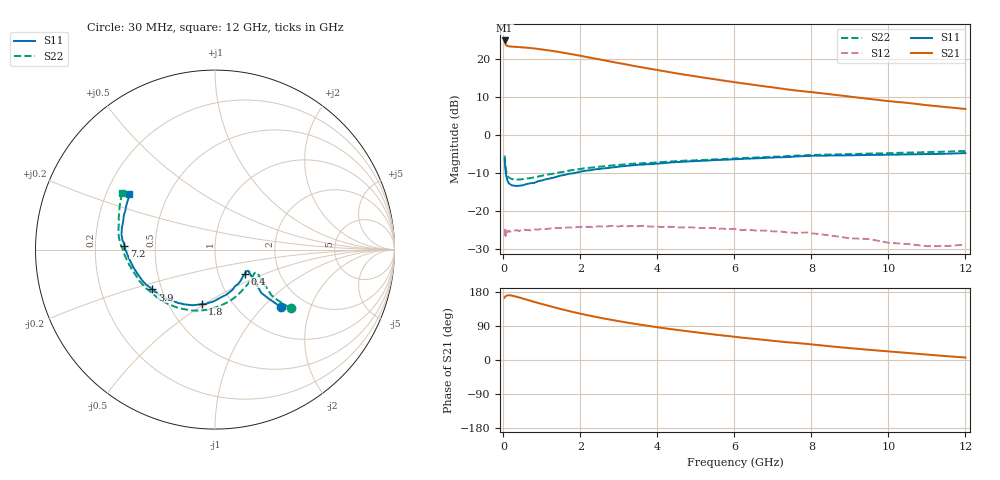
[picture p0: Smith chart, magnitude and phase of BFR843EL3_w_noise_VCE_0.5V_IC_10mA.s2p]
! Infineon Technologies  Discrete & RF Semiconductors
! BFR843EL3
! VCE =  0.5 V,  IC =  10 mA
! Common Emitter S-Parameters:  Aug 2013
# GHz  S  MA  R  50
!  f  S11  S21  S12  S22
! GHz  MAG  ANG  MAG  ANG  MAG  ANG  MAG  ANG
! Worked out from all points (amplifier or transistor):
!   103 points, 30 MHz to 12 GHz, reference 50 ohm
!   highest |S21| = 24.7 dB at 30 MHz (marker M1)
!   |S21| within 3 dB of that: start of sweep to 1.431 GHz
!   unconditionally stable (mu >= 1): 6.057 GHz to end of sweep
!   at 400 MHz: K = 0.99, MSG = 24.1 dB, |S12| = -25.3 dB
!   at 3.7 GHz: K = 0.79, MSG = 20.7 dB, |S12| = -24.0 dB
!   at 12 GHz: K = 2.69, MAG = 10.7 dB, |S12| = -28.9 dB
!   lowest NFmin = 0.89 dB at 450 MHz
!   S11 on the Smith chart (normalised r, x): 30 MHz: 1.52, -1.26; 400 MHz: 1.33, -0.38; 1.8 GHz: 0.73, -0.49; 3.9 GHz: 0.44, -0.24; 7.2 GHz: 0.33, +0.02; 12 GHz: 0.29, +0.27
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0.03  0.4846 -41.1  17.26 164.6  0.0467 32.4  0.5327 -37.8
0.04  0.406 -42.4  16.27 165.8  0.0499 24.6  0.4497 -38.9
0.06  0.3186 -41.1  15.24 168.2  0.0469 12.2  0.3601 -36.7
0.08  0.2784 -38.5  14.84 169.7  0.053 13.3  0.3196 -34.3
0.12  0.2402 -35.1  14.55 170.7  0.0546 8.3  0.2829 -30.3
0.2  0.2182 -32.7  14.35 170.2  0.0538 5.8  0.2642 -28.8
0.4  0.2137 -39.6  14.14 165.2  0.0545 3.5  0.2585 -36.0
0.8  0.2327 -61.5  13.55 153.4  0.057 4.9  0.275 -57.6
1.2  0.2658 -81.4  12.73 142.2  0.0585 4.5  0.3025 -77.3
1.5  0.2913 -92.9  12.05 134.2  0.0595 3.8  0.3229 -90.0
1.8  0.3107 -103.1  11.34 126.8  0.06 3.3  0.3434 -100.6
2.1  0.3344 -112.1  10.61 120.0  0.0619 1.8  0.3624 -110.3
2.6  0.3619 -124.7  9.513 109.7  0.0623 1.2  0.385 -123.0
3  0.3807 -132.9  8.695 102.4  0.0623 -1.2  0.4015 -131.6
3.9  0.4139 -147.6  7.2 88.0  0.062 -4.3  0.4288 -146.8
4.1  0.4199 -150.2  6.915 85.0  0.0613 -4.9  0.4359 -149.4
5.1  0.4527 -163.0  5.718 71.8  0.0596 -7.8  0.4631 -162.0
6.1  0.4788 -172.9  4.812 60.2  0.0571 -10.1  0.4909 -171.8
7.2  0.5048 177.5  4.045 48.5  0.0534 -12.3  0.5175 178.9
8.5  0.5331 166.4  3.389 36.0  0.0475 -14.2  0.5496 168.2
10.5  0.5512 153.8  2.613 18.6  0.0367 -6.4  0.5823 155.9
12  0.5732 147.0  2.177 6.5  0.036 11.5  0.6092 148.6
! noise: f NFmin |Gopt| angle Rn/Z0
0.45  0.89  0.06  61  0.12
0.9  0.91  0.07  70  0.12
1.5  0.93  0.08  78  0.12
1.9  0.95  0.08  82  0.12
2.4  0.96  0.09  94  0.12
3.5  0.99  0.11  109  0.11
5.5  1.05  0.17  142  0.11
8  1.12  0.28  177  0.07
10  1.17  0.4  212  0.06
